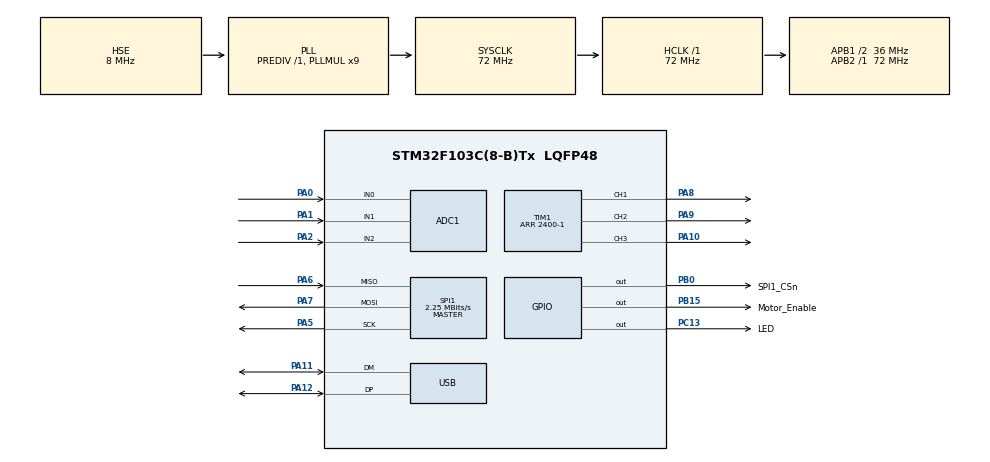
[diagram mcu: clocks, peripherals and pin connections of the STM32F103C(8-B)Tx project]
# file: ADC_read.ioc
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ADC1.Channel-0\#ChannelRegularConversion=ADC_CHANNEL_0
ADC1.Channel-1\#ChannelRegularConversion=ADC_CHANNEL_1
ADC1.Channel-2\#ChannelRegularConversion=ADC_CHANNEL_2
ADC1.NbrOfConversion=3
ADC1.NbrOfConversionFlag=1
ADC1.Rank-0\#ChannelRegularConversion=1
ADC1.Rank-1\#ChannelRegularConversion=2
ADC1.Rank-2\#ChannelRegularConversion=3
ADC1.SamplingTime-0\#ChannelRegularConversion=ADC_SAMPLETIME_28CYCLES_5
ADC1.SamplingTime-1\#ChannelRegularConversion=ADC_SAMPLETIME_28CYCLES_5
ADC1.SamplingTime-2\#ChannelRegularConversion=ADC_SAMPLETIME_28CYCLES_5
ADC1.master=1
Mcu.Family=STM32F1
Mcu.Name=STM32F103C(8-B)Tx
Mcu.Package=LQFP48
NVIC.PriorityGroup=NVIC_PRIORITYGROUP_4
NVIC.TIM2_IRQn=true\:0\:0\:false\:false\:true\:true\:true\:true
NVIC.USB_LP_CAN1_RX0_IRQn=true\:0\:0\:false\:false\:true\:false\:true\:true
PA0-WKUP.Signal=ADCx_IN0
PA1.Signal=ADCx_IN1
PA10.Signal=S_TIM1_CH3
PA11.Mode=Device
PA11.Signal=USB_DM
PA12.Mode=Device
PA12.Signal=USB_DP
PA2.Signal=ADCx_IN2
PA5.Mode=Full_Duplex_Master
PA5.Signal=SPI1_SCK
PA6.GPIO_PuPd=GPIO_PULLUP
PA6.Mode=Full_Duplex_Master
PA6.Signal=SPI1_MISO
PA7.Mode=Full_Duplex_Master
PA7.Signal=SPI1_MOSI
PA8.Signal=S_TIM1_CH1
PA9.Signal=S_TIM1_CH2
PB0.GPIO_Label=SPI1_CSn
PB0.GPIO_Speed=GPIO_SPEED_FREQ_HIGH
PB0.PinState=GPIO_PIN_SET
PB0.Signal=GPIO_Output
PB15.GPIO_Label=Motor_Enable
PB15.Signal=GPIO_Output
PC13-TAMPER-RTC.GPIO_Label=LED
PC13-TAMPER-RTC.Signal=GPIO_Output
PD0-OSC_IN.Mode=HSE-External-Oscillator
PD0-OSC_IN.Signal=RCC_OSC_IN
PD1-OSC_OUT.Mode=HSE-External-Oscillator
PD1-OSC_OUT.Signal=RCC_OSC_OUT
ProjectManager.HeapSize=0x200
ProjectManager.StackSize=0x400
ProjectManager.TargetToolchain=STM32CubeIDE
RCC.ADCPresc=RCC_ADCPCLK2_DIV6
RCC.AHBFreq_Value=72000000
RCC.APB1CLKDivider=RCC_HCLK_DIV2
RCC.APB1Freq_Value=36000000
RCC.APB1TimFreq_Value=72000000
RCC.APB2Freq_Value=72000000
RCC.APB2TimFreq_Value=72000000
RCC.HCLKFreq_Value=72000000
RCC.PLLMUL=RCC_PLL_MUL9
RCC.PLLSourceVirtual=RCC_PLLSOURCE_HSE
RCC.SYSCLKFreq_VALUE=72000000
RCC.SYSCLKSource=RCC_SYSCLKSOURCE_PLLCLK
RCC.USBFreq_Value=48000000
RCC.USBPrescaler=RCC_USBCLKSOURCE_PLL_DIV1_5
SH.ADCx_IN0.0=ADC1_IN0,IN0
SH.ADCx_IN1.0=ADC1_IN1,IN1
SH.ADCx_IN2.0=ADC1_IN2,IN2
SH.S_TIM1_CH1.0=TIM1_CH1,PWM Generation1 CH1
SH.S_TIM1_CH2.0=TIM1_CH2,PWM Generation2 CH2
SH.S_TIM1_CH3.0=TIM1_CH3,PWM Generation3 CH3
SPI1.BaudRatePrescaler=SPI_BAUDRATEPRESCALER_32
SPI1.CalculateBaudRate=2.25 MBits/s
SPI1.DataSize=SPI_DATASIZE_16BIT
SPI1.Direction=SPI_DIRECTION_2LINES
SPI1.Mode=SPI_MODE_MASTER
SPI1.VirtualType=VM_MASTER
TIM1.Channel-PWM\ Generation1\ CH1=TIM_CHANNEL_1
TIM1.Channel-PWM\ Generation2\ CH2=TIM_CHANNEL_2
TIM1.Channel-PWM\ Generation3\ CH3=TIM_CHANNEL_3
TIM1.Period=2400-1
TIM2.Period=4000-1
TIM2.Prescaler=90-1
USB_DEVICE.CLASS_NAME_FS=CDC
USB_DEVICE.PRODUCT_STRING_CDC_FS=STM32 Virtual Port
USB_DEVICE.VirtualMode=Cdc
USB_DEVICE.VirtualModeFS=Cdc_FS
VP_SYS_VS_ND.Mode=No_Debug
VP_TIM1_VS_ClockSourceINT.Mode=Internal
VP_TIM2_VS_ClockSourceINT.Mode=Internal
VP_USB_DEVICE_VS_USB_DEVICE_CDC_FS.Mode=CDC_FS
board=custom

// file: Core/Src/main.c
/* USER CODE BEGIN Header */
/* USER CODE END Header */
#include "main.h"
#include "usb_device.h"

/* USER CODE BEGIN Includes */
#include <math.h>
#include "usbd_cdc_if.h"
#include "string.h"
#include "as5048a.h"

/* USER CODE END Includes */

ADC_HandleTypeDef hadc1;

SPI_HandleTypeDef hspi1;

TIM_HandleTypeDef htim1;
TIM_HandleTypeDef htim2;

void SystemClock_Config(void);
static void MX_GPIO_Init(void);
static void MX_SPI1_Init(void);
static void MX_TIM1_Init(void);
static void MX_TIM2_Init(void);
static void MX_ADC1_Init(void);

/* USER CODE BEGIN 0 */
char data[50];

float open_loop_timestamp=0;
float zero_electric_angle=0;
float shaft_angle=0;
float voltage_limit=12;
float voltage_power_supply=12;
int period=2400; // period for the PWM
int dir=1; // anti clockwise direction is 1 , clockwise is -1
int pole_pairs=11;
int index1=0;
uint16_t raw1,raw2,raw3;
float motor_target= M_PI/6;
float Ts=5E-3f;
float Kp=0.167f;
uint16_t ADC_VAL[3];
/* USER CODE END 0 */

int main(void)
{

  /* MCU Configuration--------------------------------------------------------*/

  /* Reset of all peripherals, Initializes the Flash interface and the Systick. */
  HAL_Init();

  /* Configure the system clock */
  SystemClock_Config();

  /* Initialize all configured peripherals */
  MX_GPIO_Init();
  MX_SPI1_Init();
  MX_USB_DEVICE_Init();
  MX_TIM1_Init();
  MX_TIM2_Init();
  MX_ADC1_Init();
  /* USER CODE BEGIN 2 */
  HAL_GPIO_WritePin(Motor_Enable_GPIO_Port, Motor_Enable_Pin, GPIO_PIN_SET);
  HAL_TIM_PWM_Start(&htim1, TIM_CHANNEL_1);
  HAL_TIM_PWM_Start(&htim1, TIM_CHANNEL_2);
  HAL_TIM_PWM_Start(&htim1, TIM_CHANNEL_3);

  setPhaseVoltage(3,0,_electricalAngle(M_PI*1.5f,pole_pairs),TIM1);
  HAL_Delay(3000);
  uint16_t read_raw=read(&hspi1, SPI1_CSn_GPIO_Port,SPI1_CSn_Pin,AS5048A_ANGLE);
  zero_electric_angle=_electricalAngle(M_PI*read_raw/MAX_ANGLE_VALUE,pole_pairs);
  setPhaseVoltage(0,0,_electricalAngle(M_PI*1.5f,pole_pairs),TIM1);
  sprintf(data, "zero_electric_angle: %i \n", (int) floor(zero_electric_angle/M_PI*180));
  CDC_Transmit_FS((uint8_t*) data, strlen(data));
  HAL_TIM_Base_Start_IT(&htim2);
  /* USER CODE END 2 */

  /* Infinite loop */
  while (1)
    {

    }
}

void SystemClock_Config(void)
{
  RCC_OscInitTypeDef RCC_OscInitStruct = {0};
  RCC_ClkInitTypeDef RCC_ClkInitStruct = {0};
  RCC_PeriphCLKInitTypeDef PeriphClkInit = {0};

  /** Initializes the RCC Oscillators according to the specified parameters
  * in the RCC_OscInitTypeDef structure.
  */
  RCC_OscInitStruct.OscillatorType = RCC_OSCILLATORTYPE_HSE;
  RCC_OscInitStruct.HSEState = RCC_HSE_ON;
  RCC_OscInitStruct.HSEPredivValue = RCC_HSE_PREDIV_DIV1;
  RCC_OscInitStruct.HSIState = RCC_HSI_ON;
  RCC_OscInitStruct.PLL.PLLState = RCC_PLL_ON;
  RCC_OscInitStruct.PLL.PLLSource = RCC_PLLSOURCE_HSE;
  RCC_OscInitStruct.PLL.PLLMUL = RCC_PLL_MUL9;
  if (HAL_RCC_OscConfig(&RCC_OscInitStruct) != HAL_OK)
  {
    Error_Handler();
  }

  /** Initializes the CPU, AHB and APB buses clocks
  */
  RCC_ClkInitStruct.ClockType = RCC_CLOCKTYPE_HCLK|RCC_CLOCKTYPE_SYSCLK
                              |RCC_CLOCKTYPE_PCLK1|RCC_CLOCKTYPE_PCLK2;
  RCC_ClkInitStruct.SYSCLKSource = RCC_SYSCLKSOURCE_PLLCLK;
  RCC_ClkInitStruct.AHBCLKDivider = RCC_SYSCLK_DIV1;
  RCC_ClkInitStruct.APB1CLKDivider = RCC_HCLK_DIV2;
  RCC_ClkInitStruct.APB2CLKDivider = RCC_HCLK_DIV1;

  if (HAL_RCC_ClockConfig(&RCC_ClkInitStruct, FLASH_LATENCY_2) != HAL_OK)
  {
    Error_Handler();
  }
  PeriphClkInit.PeriphClockSelection = RCC_PERIPHCLK_ADC|RCC_PERIPHCLK_USB;
  PeriphClkInit.AdcClockSelection = RCC_ADCPCLK2_DIV6;
  PeriphClkInit.UsbClockSelection = RCC_USBCLKSOURCE_PLL_DIV1_5;
  if (HAL_RCCEx_PeriphCLKConfig(&PeriphClkInit) != HAL_OK)
  {
    Error_Handler();
  }
}

static void MX_ADC1_Init(void)
{

  ADC_ChannelConfTypeDef sConfig = {0};

  /** Common config
  */
  hadc1.Instance = ADC1;
  hadc1.Init.ScanConvMode = ADC_SCAN_ENABLE;
  hadc1.Init.ContinuousConvMode = DISABLE;
  hadc1.Init.DiscontinuousConvMode = DISABLE;
  hadc1.Init.ExternalTrigConv = ADC_SOFTWARE_START;
  hadc1.Init.DataAlign = ADC_DATAALIGN_RIGHT;
  hadc1.Init.NbrOfConversion = 3;
  if (HAL_ADC_Init(&hadc1) != HAL_OK)
  {
    Error_Handler();
  }

  /** Configure Regular Channel
  */
  sConfig.Channel = ADC_CHANNEL_0;
  sConfig.Rank = ADC_REGULAR_RANK_1;
  sConfig.SamplingTime = ADC_SAMPLETIME_28CYCLES_5;
  if (HAL_ADC_ConfigChannel(&hadc1, &sConfig) != HAL_OK)
  {
    Error_Handler();
  }

  /** Configure Regular Channel
  */
  sConfig.Channel = ADC_CHANNEL_1;
  sConfig.Rank = ADC_REGULAR_RANK_2;
  if (HAL_ADC_ConfigChannel(&hadc1, &sConfig) != HAL_OK)
  {
    Error_Handler();
  }

  /** Configure Regular Channel
  */
  sConfig.Channel = ADC_CHANNEL_2;
  sConfig.Rank = ADC_REGULAR_RANK_3;
  if (HAL_ADC_ConfigChannel(&hadc1, &sConfig) != HAL_OK)
  {
    Error_Handler();
  }

}

static void MX_SPI1_Init(void)
{

  /* SPI1 parameter configuration*/
  hspi1.Instance = SPI1;
  hspi1.Init.Mode = SPI_MODE_MASTER;
  hspi1.Init.Direction = SPI_DIRECTION_2LINES;
  hspi1.Init.DataSize = SPI_DATASIZE_16BIT;
  hspi1.Init.CLKPolarity = SPI_POLARITY_LOW;
  hspi1.Init.CLKPhase = SPI_PHASE_1EDGE;
  hspi1.Init.NSS = SPI_NSS_SOFT;
  hspi1.Init.BaudRatePrescaler = SPI_BAUDRATEPRESCALER_32;
  hspi1.Init.FirstBit = SPI_FIRSTBIT_MSB;
  hspi1.Init.TIMode = SPI_TIMODE_DISABLE;
  hspi1.Init.CRCCalculation = SPI_CRCCALCULATION_DISABLE;
  hspi1.Init.CRCPolynomial = 10;
  if (HAL_SPI_Init(&hspi1) != HAL_OK)
  {
    Error_Handler();
  }

}

static void MX_TIM1_Init(void)
{

  TIM_ClockConfigTypeDef sClockSourceConfig = {0};
  TIM_MasterConfigTypeDef sMasterConfig = {0};
  TIM_OC_InitTypeDef sConfigOC = {0};
  TIM_BreakDeadTimeConfigTypeDef sBreakDeadTimeConfig = {0};

  htim1.Instance = TIM1;
  htim1.Init.Prescaler = 0;
  htim1.Init.CounterMode = TIM_COUNTERMODE_UP;
  htim1.Init.Period = 2400-1;
  htim1.Init.ClockDivision = TIM_CLOCKDIVISION_DIV1;
  htim1.Init.RepetitionCounter = 0;
  htim1.Init.AutoReloadPreload = TIM_AUTORELOAD_PRELOAD_DISABLE;
  if (HAL_TIM_Base_Init(&htim1) != HAL_OK)
  {
    Error_Handler();
  }
  sClockSourceConfig.ClockSource = TIM_CLOCKSOURCE_INTERNAL;
  if (HAL_TIM_ConfigClockSource(&htim1, &sClockSourceConfig) != HAL_OK)
  {
    Error_Handler();
  }
  if (HAL_TIM_PWM_Init(&htim1) != HAL_OK)
  {
    Error_Handler();
  }
  sMasterConfig.MasterOutputTrigger = TIM_TRGO_RESET;
  sMasterConfig.MasterSlaveMode = TIM_MASTERSLAVEMODE_DISABLE;
  if (HAL_TIMEx_MasterConfigSynchronization(&htim1, &sMasterConfig) != HAL_OK)
  {
    Error_Handler();
  }
  sConfigOC.OCMode = TIM_OCMODE_PWM1;
  sConfigOC.Pulse = 0;
  sConfigOC.OCPolarity = TIM_OCPOLARITY_HIGH;
  sConfigOC.OCNPolarity = TIM_OCNPOLARITY_HIGH;
  sConfigOC.OCFastMode = TIM_OCFAST_DISABLE;
  sConfigOC.OCIdleState = TIM_OCIDLESTATE_RESET;
  sConfigOC.OCNIdleState = TIM_OCNIDLESTATE_RESET;
  if (HAL_TIM_PWM_ConfigChannel(&htim1, &sConfigOC, TIM_CHANNEL_1) != HAL_OK)
  {
    Error_Handler();
  }
  if (HAL_TIM_PWM_ConfigChannel(&htim1, &sConfigOC, TIM_CHANNEL_2) != HAL_OK)
  {
    Error_Handler();
  }
  if (HAL_TIM_PWM_ConfigChannel(&htim1, &sConfigOC, TIM_CHANNEL_3) != HAL_OK)
  {
    Error_Handler();
  }
  sBreakDeadTimeConfig.OffStateRunMode = TIM_OSSR_DISABLE;
  sBreakDeadTimeConfig.OffStateIDLEMode = TIM_OSSI_DISABLE;
  sBreakDeadTimeConfig.LockLevel = TIM_LOCKLEVEL_OFF;
  sBreakDeadTimeConfig.DeadTime = 0;
  sBreakDeadTimeConfig.BreakState = TIM_BREAK_DISABLE;
  sBreakDeadTimeConfig.BreakPolarity = TIM_BREAKPOLARITY_HIGH;
  sBreakDeadTimeConfig.AutomaticOutput = TIM_AUTOMATICOUTPUT_DISABLE;
  if (HAL_TIMEx_ConfigBreakDeadTime(&htim1, &sBreakDeadTimeConfig) != HAL_OK)
  {
    Error_Handler();
  }
  HAL_TIM_MspPostInit(&htim1);

}

static void MX_TIM2_Init(void)
{

  TIM_ClockConfigTypeDef sClockSourceConfig = {0};
  TIM_MasterConfigTypeDef sMasterConfig = {0};

  htim2.Instance = TIM2;
  htim2.Init.Prescaler = 90-1;
  htim2.Init.CounterMode = TIM_COUNTERMODE_UP;
  htim2.Init.Period = 4000-1;
  htim2.Init.ClockDivision = TIM_CLOCKDIVISION_DIV1;
  htim2.Init.AutoReloadPreload = TIM_AUTORELOAD_PRELOAD_DISABLE;
  if (HAL_TIM_Base_Init(&htim2) != HAL_OK)
  {
    Error_Handler();
  }
  sClockSourceConfig.ClockSource = TIM_CLOCKSOURCE_INTERNAL;
  if (HAL_TIM_ConfigClockSource(&htim2, &sClockSourceConfig) != HAL_OK)
  {
    Error_Handler();
  }
  sMasterConfig.MasterOutputTrigger = TIM_TRGO_RESET;
  sMasterConfig.MasterSlaveMode = TIM_MASTERSLAVEMODE_DISABLE;
  if (HAL_TIMEx_MasterConfigSynchronization(&htim2, &sMasterConfig) != HAL_OK)
  {
    Error_Handler();
  }

}

static void MX_GPIO_Init(void)
{
  GPIO_InitTypeDef GPIO_InitStruct = {0};

  /* GPIO Ports Clock Enable */
  __HAL_RCC_GPIOC_CLK_ENABLE();
  __HAL_RCC_GPIOD_CLK_ENABLE();
  __HAL_RCC_GPIOA_CLK_ENABLE();
  __HAL_RCC_GPIOB_CLK_ENABLE();

  /*Configure GPIO pin Output Level */
  HAL_GPIO_WritePin(LED_GPIO_Port, LED_Pin, GPIO_PIN_RESET);

  /*Configure GPIO pin Output Level */
  HAL_GPIO_WritePin(SPI1_CSn_GPIO_Port, SPI1_CSn_Pin, GPIO_PIN_SET);

  /*Configure GPIO pin Output Level */
  HAL_GPIO_WritePin(Motor_Enable_GPIO_Port, Motor_Enable_Pin, GPIO_PIN_RESET);

  /*Configure GPIO pin : LED_Pin */
  GPIO_InitStruct.Pin = LED_Pin;
  GPIO_InitStruct.Mode = GPIO_MODE_OUTPUT_PP;
  GPIO_InitStruct.Pull = GPIO_NOPULL;
  GPIO_InitStruct.Speed = GPIO_SPEED_FREQ_LOW;
  HAL_GPIO_Init(LED_GPIO_Port, &GPIO_InitStruct);

  /*Configure GPIO pin : SPI1_CSn_Pin */
  GPIO_InitStruct.Pin = SPI1_CSn_Pin;
  GPIO_InitStruct.Mode = GPIO_MODE_OUTPUT_PP;
  GPIO_InitStruct.Pull = GPIO_NOPULL;
  GPIO_InitStruct.Speed = GPIO_SPEED_FREQ_HIGH;
  HAL_GPIO_Init(SPI1_CSn_GPIO_Port, &GPIO_InitStruct);

  /*Configure GPIO pin : Motor_Enable_Pin */
  GPIO_InitStruct.Pin = Motor_Enable_Pin;
  GPIO_InitStruct.Mode = GPIO_MODE_OUTPUT_PP;
  GPIO_InitStruct.Pull = GPIO_NOPULL;
  GPIO_InitStruct.Speed = GPIO_SPEED_FREQ_LOW;
  HAL_GPIO_Init(Motor_Enable_GPIO_Port, &GPIO_InitStruct);

}

/* USER CODE BEGIN 4 */

void ADC_Select_CH0 (void)
{
	ADC_ChannelConfTypeDef sConfig = {0};
	  /** Configure for the selected ADC regular channel its corresponding rank in the sequencer and its sample time.
	  */
	  sConfig.Channel = ADC_CHANNEL_0;
	  sConfig.Rank = 1;
	  sConfig.SamplingTime = ADC_SAMPLETIME_28CYCLES_5;
	  if (HAL_ADC_ConfigChannel(&hadc1, &sConfig) != HAL_OK)
	  {
	    Error_Handler();
	  }
}

void ADC_Select_CH1 (void)
{
	ADC_ChannelConfTypeDef sConfig = {0};
	  /** Configure for the selected ADC regular channel its corresponding rank in the sequencer and its sample time.
	  */
	  sConfig.Channel = ADC_CHANNEL_1;
	  sConfig.Rank = 1;
	  sConfig.SamplingTime = ADC_SAMPLETIME_28CYCLES_5;
	  if (HAL_ADC_ConfigChannel(&hadc1, &sConfig) != HAL_OK)
	  {
	    Error_Handler();
	  }
}

void ADC_Select_CH2 (void)
{
	ADC_ChannelConfTypeDef sConfig = {0};
	  /** Configure for the selected ADC regular channel its corresponding rank in the sequencer and its sample time.
	  */
	  sConfig.Channel = ADC_CHANNEL_2;
	  sConfig.Rank = 1;
	  sConfig.SamplingTime = ADC_SAMPLETIME_28CYCLES_5;
	  if (HAL_ADC_ConfigChannel(&hadc1, &sConfig) != HAL_OK)
	  {
	    Error_Handler();
	  }
}

void HAL_TIM_PeriodElapsedCallback(TIM_HandleTypeDef *htim)
{
  // Check which version of the timer triggered this callback and toggle LED
  if (htim == &htim2 )
  {

    index1+=1;
    uint16_t read_raw=read(&hspi1, SPI1_CSn_GPIO_Port,SPI1_CSn_Pin,AS5048A_ANGLE);
    float angle_now=(float)read_raw /(float)MAX_ANGLE_VALUE *2*M_PI*dir;
    float angle_error=motor_target-angle_now;

    angle_error=_normalizeAngle(angle_error);
    if (angle_error > M_PI){
    	angle_error-=2*M_PI;
    }
//    close loop position control
//    setPhaseVoltage(_constrain(Kp*(angle_error)/M_PI*180,-voltage_power_supply/2,voltage_power_supply/2),0,_electricalAngle(angle_now,pole_pairs),TIM1);
//    open looop speed control
        velocityOpenloop(5,5.5,TIM1);

//    sprintf(data, "open loop control \n");
//    sprintf(data, "angle: %u \n", read_raw);
//    CDC_Transmit_FS((uint8_t*) data, strlen(data));
//    sprintf(data, "angle_now : %i \n", (int) floor(angle_now*180/M_PI));
//        CDC_Transmit_FS((uint8_t*) data, strlen(data));
//    sprintf(data, "angle_error : %i \n", (int) floor(angle_error/M_PI*180));
//    CDC_Transmit_FS((uint8_t*) data, strlen(data));

    ADC_Select_CH0();
	HAL_ADC_Start(&hadc1);
	HAL_ADC_PollForConversion(&hadc1, 1000);
	ADC_VAL[0] = HAL_ADC_GetValue(&hadc1);
	HAL_ADC_Stop(&hadc1);

	ADC_Select_CH1();
	HAL_ADC_Start(&hadc1);
	HAL_ADC_PollForConversion(&hadc1, 1000);
	ADC_VAL[1] = HAL_ADC_GetValue(&hadc1);
	HAL_ADC_Stop(&hadc1);

	ADC_Select_CH2();
	HAL_ADC_Start(&hadc1);
	HAL_ADC_PollForConversion(&hadc1, 1000);
	ADC_VAL[2] = HAL_ADC_GetValue(&hadc1);
	HAL_ADC_Stop(&hadc1);
	sprintf(data, "sense_u: %u, sense_v: %u, sense_w: %u \n", ADC_VAL[0], ADC_VAL[1], ADC_VAL[2] );
	CDC_Transmit_FS((uint8_t*) data, strlen(data));

    if (index1 == 200){
    	HAL_GPIO_TogglePin(LED_GPIO_Port, LED_Pin);
    	index1=0;
    }
  }
}

/* USER CODE END 4 */

void Error_Handler(void)
{
}
